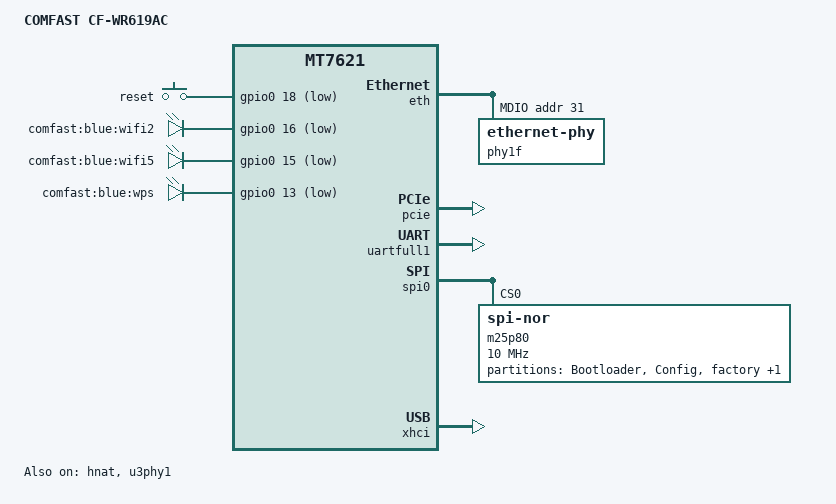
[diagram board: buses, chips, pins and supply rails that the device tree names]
/dts-v1/;

#include "mt7621.dtsi"
#include <dt-bindings/input/input.h>
#include <dt-bindings/gpio/gpio.h>

/ {
	compatible = "comfast,cf-wr619ac", "mediatek,mt7621-soc";
	model = "COMFAST CF-WR619AC";

	chosen {
		bootargs = "console=ttyS0,115200";
	};

	gpio-keys-polled {
		compatible = "gpio-keys-polled";
		#address-cells = <1>;
		#size-cells = <0>;
		poll-interval = <20>;

		reset {
			label = "reset";
			gpios = <&gpio0 18 GPIO_ACTIVE_LOW>;
			linux,code = <KEY_RESTART>;
		};
	};

	gpio-leds {
		compatible = "gpio-leds";

		wlan2 {
			label = "comfast:blue:wifi2";
			gpios = <&gpio0 16 GPIO_ACTIVE_LOW>;
		};
		wlan5 {
			label = "comfast:blue:wifi5";
			gpios = <&gpio0 15 GPIO_ACTIVE_LOW>;
		};
		wps {
			label = "comfast:blue:wps";
			gpios = <&gpio0 13 GPIO_ACTIVE_LOW>;
		};
	};
};

&eth {
        status = "okay";

        mtd-mac-address = <&Factory 0xe000>;

        gmac0: mac@0 {
                compatible = "mediatek,eth-mac";
                mtd-mac-address = <&Factory 0xe000>;
                reg = <0>;
                phy-mode = "rgmii";
                fixed-link {
                        speed = <1000>;
                        full-duplex;
                        pause;
                };
        };

        gmac1: mac@1 {
                compatible = "mediatek,eth-mac";
                mtd-mac-address = <&Factory 0xe000>;
                reg = <1>;
                phy-mode = "trgmii";
                fixed-link {
                        speed = <1000>;
                        full-duplex;
                        pause;
                };
        };

        mdio: mdio-bus {
                #address-cells = <1>;
                #size-cells = <0>;

                phy1f: ethernet-phy@1f {
                        reg = <0x1f>;
                        phy-mode = "rgmii";
                };
        };
};

&gsw {
	mediatek,mdio = <&mdio>;
	mediatek,portmap = "wllll";
	mediatek,mcm;
	mt7530,direct-phy-access;

	resets = <&rstctrl 2>;
	reset-names = "mcm";

	port5: port@5 {
		compatible = "mediatek,mt753x-port";
		reg = <5>;
		phy-mode = "rgmii";
		fixed-link {
			speed = <1000>;
			full-duplex;
		};
	};

	port6: port@6 {
		compatible = "mediatek,mt753x-port";
		reg = <6>;
		phy-mode = "trgmii";
		fixed-link {
			speed = <1000>;
			full-duplex;
		};
	};

	mdio-bus {
		#address-cells = <1>;
		#size-cells = <0>;
	};
};

&hnat {
        mtketh-wan = "eth1";
        mtketh-ppd = "eth0";
        mtketh-max-gmac = <2>;
        // mem: 128M, TABLE_4K
        mtkfoe-etry-num-cfg = <2>;
        status = "okay";
};

&pcie {
	status = "okay";
};

&pinctrl {
	state_default: pinctrl0 {
		gpio {
			mtk,group = "i2c";
			mtk,function = "gpio";
		};

		uart2 {
			mtk,group = "uart2";
			mtk,function = "gpio";
		};

		uart3 {
			mtk,group = "uart3";
			mtk,function = "gpio";
		};
		sdhci {
			mtk,group = "sdhci";
			mtk,function = "gpio";
		};

		jtag {
			mtk,group = "jtag";
			mtk,function = "gpio";
		};
	};
};

&uartfull1 {
	status = "okay";
};

&spi0 {
	status = "okay";

	m25p80@0 {
		#address-cells = <1>;
		#size-cells = <1>;
		compatible = "jedec,spi-nor";
		reg = <0>;
		spi-max-frequency = <10000000>;
		m25p,chunked-io = <32>;

		partition@0 {
			label = "Bootloader";
			reg = <0x00000 0x30000>;
			read-only;
		};

		partition@30000 {
			label = "Config";
			reg = <0x30000 0x10000>;
		};

		Factory:partition@50000 {
			label = "factory";
			reg = <0x40000 0x10000>;
			read-only;
		};

		partition@90000 {
			label = "firmware";
			reg = <0x50000 0xfb0000>;
		};
	};
};

&u3phy1 {
	status = "okay";
};

&xhci {
	status = "okay";
};
